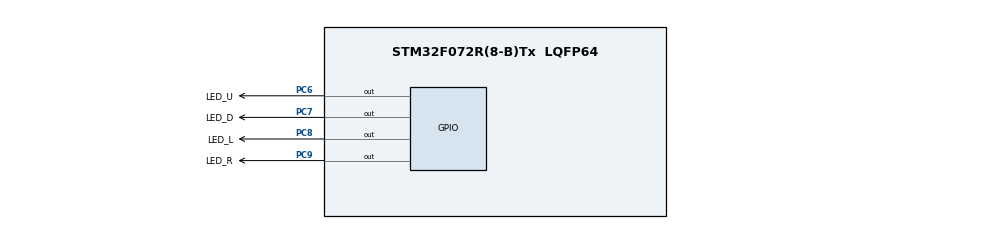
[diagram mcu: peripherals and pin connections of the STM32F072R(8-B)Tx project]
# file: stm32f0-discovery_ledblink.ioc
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Mcu.Family=STM32F0
Mcu.Name=STM32F072R(8-B)Tx
Mcu.Package=LQFP64
PC6.GPIO_Label=LED_U
PC6.Signal=GPIO_Output
PC7.GPIO_Label=LED_D
PC7.Signal=GPIO_Output
PC8.GPIO_Label=LED_L
PC8.Signal=GPIO_Output
PC9.GPIO_Label=LED_R
PC9.Signal=GPIO_Output
ProjectManager.HeapSize=0x200
ProjectManager.StackSize=0x400
ProjectManager.TargetToolchain=Makefile
board=custom

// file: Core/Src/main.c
/* USER CODE BEGIN Header */
/**
  ******************************************************************************
  * @file           : main.c
  * @brief          : Main program body
  ******************************************************************************
  * @attention
  *
  * Copyright (c) 2023 STMicroelectronics.
  * All rights reserved.
  *
  * This software is licensed under terms that can be found in the LICENSE file
  * in the root directory of this software component.
  * If no LICENSE file comes with this software, it is provided AS-IS.
  *
  ******************************************************************************
  */
/* USER CODE END Header */
#include "main.h"

void SystemClock_Config(void);
static void MX_GPIO_Init(void);

int main(void)
{

  /* MCU Configuration--------------------------------------------------------*/

  /* Reset of all peripherals, Initializes the Flash interface and the Systick. */
  HAL_Init();

  /* Configure the system clock */
  SystemClock_Config();

  /* Initialize all configured peripherals */
  MX_GPIO_Init();

  /* Infinite loop */
  /* USER CODE BEGIN WHILE */
  while (1)
  {
	  HAL_Delay(100);
	  HAL_GPIO_TogglePin(LED_R_GPIO_Port, LED_R_Pin);
	  HAL_Delay(100);
	  HAL_GPIO_TogglePin(LED_D_GPIO_Port, LED_D_Pin);
	  HAL_Delay(100);
	  HAL_GPIO_TogglePin(LED_L_GPIO_Port, LED_L_Pin);
	  HAL_Delay(100);
	  HAL_GPIO_TogglePin(LED_U_GPIO_Port, LED_U_Pin);
    /* USER CODE END WHILE */

    /* USER CODE BEGIN 3 */
HAL_GPIO_TogglePin(LED_R_GPIO_Port, LED_R_Pin);
HAL_GPIO_TogglePin(LED_D_GPIO_Port, LED_D_Pin);
HAL_GPIO_TogglePin(LED_L_GPIO_Port, LED_L_Pin);
HAL_GPIO_TogglePin(LED_U_GPIO_Port, LED_U_Pin);
HAL_Delay(1000);
HAL_GPIO_TogglePin(LED_R_GPIO_Port, LED_R_Pin);
HAL_GPIO_TogglePin(LED_D_GPIO_Port, LED_D_Pin);
HAL_GPIO_TogglePin(LED_L_GPIO_Port, LED_L_Pin);
HAL_GPIO_TogglePin(LED_U_GPIO_Port, LED_U_Pin);
HAL_Delay(1000);
  }
  /* USER CODE END 3 */
}

void SystemClock_Config(void)
{
  RCC_OscInitTypeDef RCC_OscInitStruct = {0};
  RCC_ClkInitTypeDef RCC_ClkInitStruct = {0};

  /** Initializes the RCC Oscillators according to the specified parameters
  * in the RCC_OscInitTypeDef structure.
  */
  RCC_OscInitStruct.OscillatorType = RCC_OSCILLATORTYPE_HSI;
  RCC_OscInitStruct.HSIState = RCC_HSI_ON;
  RCC_OscInitStruct.HSICalibrationValue = RCC_HSICALIBRATION_DEFAULT;
  RCC_OscInitStruct.PLL.PLLState = RCC_PLL_NONE;
  if (HAL_RCC_OscConfig(&RCC_OscInitStruct) != HAL_OK)
  {
    Error_Handler();
  }

  /** Initializes the CPU, AHB and APB buses clocks
  */
  RCC_ClkInitStruct.ClockType = RCC_CLOCKTYPE_HCLK|RCC_CLOCKTYPE_SYSCLK
                              |RCC_CLOCKTYPE_PCLK1;
  RCC_ClkInitStruct.SYSCLKSource = RCC_SYSCLKSOURCE_HSI;
  RCC_ClkInitStruct.AHBCLKDivider = RCC_SYSCLK_DIV1;
  RCC_ClkInitStruct.APB1CLKDivider = RCC_HCLK_DIV1;

  if (HAL_RCC_ClockConfig(&RCC_ClkInitStruct, FLASH_LATENCY_0) != HAL_OK)
  {
    Error_Handler();
  }
}

static void MX_GPIO_Init(void)
{
  GPIO_InitTypeDef GPIO_InitStruct = {0};

  /* GPIO Ports Clock Enable */
  __HAL_RCC_GPIOC_CLK_ENABLE();

  /*Configure GPIO pin Output Level */
  HAL_GPIO_WritePin(GPIOC, GPIO_PIN_6|GPIO_PIN_7|GPIO_PIN_8|GPIO_PIN_9, GPIO_PIN_RESET);

  /*Configure GPIO pins : PC6 PC7 PC8 PC9 */
  GPIO_InitStruct.Pin = GPIO_PIN_6|GPIO_PIN_7|GPIO_PIN_8|GPIO_PIN_9;
  GPIO_InitStruct.Mode = GPIO_MODE_OUTPUT_PP;
  GPIO_InitStruct.Pull = GPIO_NOPULL;
  GPIO_InitStruct.Speed = GPIO_SPEED_FREQ_LOW;
  HAL_GPIO_Init(GPIOC, &GPIO_InitStruct);

}

void Error_Handler(void)
{
  __disable_irq();
  while (1)
  {
  }
}
